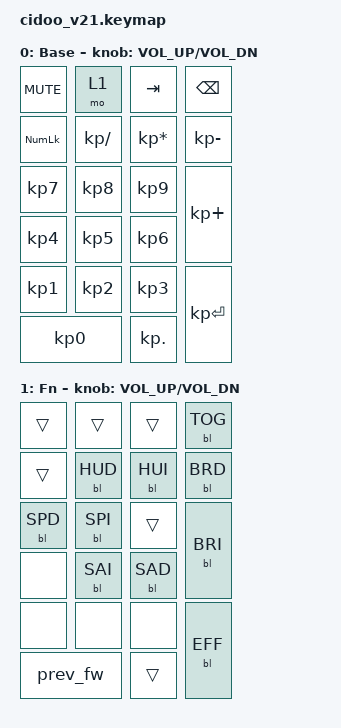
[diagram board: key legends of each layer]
/*
 * SPDX-License-Identifier: GPL-3.0-or-later
 */

/*
 * CIDOO V21 default keymap.
 * Generated by gen_v21.py from the original keymap's layers 0 (Base) and 1 (Fn).
 * Original knob: left = &kp C_VOL_DN, right = &kp C_VOL_UP, press = 1,11.
 * Original keymap positions not in the VIA layout (no key on the board): 0,0 &kp ESC, 0,11 &kp BSPC, 1,9 &kp KP_COMMA.
 */

#include <behaviors.dtsi>
#include <dt-bindings/zmk/keys.h>
#include <dt-bindings/zmk/rgb.h>

/ {
    keymap {
        compatible = "zmk,keymap";

        base_layer {
            display-name = "Base";
            bindings = <
                &kp C_MUTE       &mo 1            &kp TAB          &kp BSPC
                &kp KP_NUMLOCK   &kp KP_DIVIDE    &kp KP_MULTIPLY  &kp KP_MINUS
                &kp KP_N7        &kp KP_N8        &kp KP_N9        &kp KP_PLUS
                &kp KP_N4        &kp KP_N5        &kp KP_N6
                &kp KP_N1        &kp KP_N2        &kp KP_N3        &kp KP_ENTER
                &kp KP_N0        &kp KP_DOT
            >;
            sensor-bindings = <&inc_dec_kp C_VOL_UP C_VOL_DN>;
        };

        fn_layer {
            /* Original bindings left out (matrix row,col):
             *   1,4: 2.4G pairing (original firmware only)
             *   0,8: BT channel 1 (original firmware only)
             *   0,9: BT channel 2 (original firmware only)
             *   0,10: BT channel 3 (original firmware only)
             */
            display-name = "Fn";
            bindings = <
                &trans           &trans           &trans           &bl RGB_TOG
                &trans           &bl RGB_HUD      &bl RGB_HUI      &bl RGB_BRD
                &bl RGB_SPD      &bl RGB_SPI      &trans           &bl RGB_BRI
                &none            &bl RGB_SAI      &bl RGB_SAD
                &none            &none            &none            &bl RGB_EFF
                &prev_fw         &trans
            >;
            sensor-bindings = <&inc_dec_kp C_VOL_UP C_VOL_DN>;
        };
    };
};

/* Not on these keyboards: &sys_reset only reboots (settings stay), and &bootloader has no
 * bootloader to enter (firmware updates go through the update tool). */
&sys_reset {
	status = "disabled";
};

&bootloader {
	status = "disabled";
};
